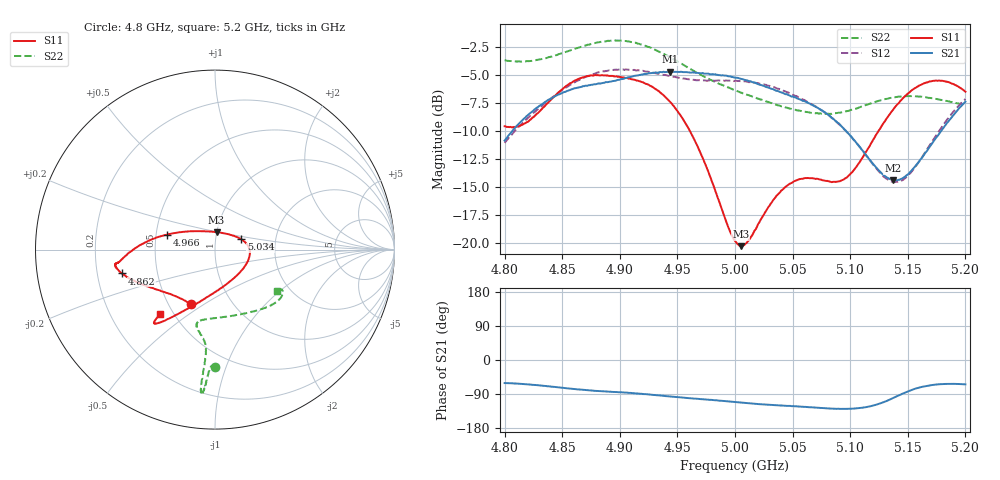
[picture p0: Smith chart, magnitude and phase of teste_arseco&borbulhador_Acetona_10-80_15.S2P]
! Network Analyzer HP8722D
! Hewlett-Packard
! Data name: Linha & Wilkinson
! Saver's name: Rodrigo Anjos
! Comments: Teste da utilização de aquisição
! continua pelo VNA HP8722D
! Time and date: 17/4/2025 14:29
!  Frequency  S11  S21  S12  S22
# HZ  S  MA R 50
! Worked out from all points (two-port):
!   401 points, 4.8 GHz to 5.2 GHz, reference 50 ohm
!   highest |S21| = -4.67 dB at 4.944 GHz (marker M1); lowest = -14.4 dB at 5.137 GHz (marker M2)
!   |S21| within 3 dB of the highest: 4.831 GHz to 5.067 GHz (236.3 MHz wide, 4.77 % of centre); 5.197108 GHz to end of sweep
!   lowest |S11| = -20.3 dB at 5.005 GHz (marker M3), VSWR 1.22, Z = 49.9 + j9.75 ohm
!   |S11| at or under -10 dB: 4.961 GHz to 5.124 GHz (163.4 MHz wide, 3.24 % of centre)
!   |S22| runs from -8.4 to -1.9 dB; largest |S21 - S12| = 0.88
!   S11 on the Smith chart (normalised r, x): 4.8 GHz: 0.65, -0.44; 4.862 GHz: 0.31, -0.11; 4.966 GHz: 0.57, +0.10; 5.034 GHz: 1.33, +0.16; 5.2 GHz: 0.42, -0.39
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4.8e9  0.333 -113.4  0.2875 -60.9  0.2808 -175.0  0.6565 -90.0
4.819e9  0.3467 -133.2  0.3696 -64.0  0.3575 -173.6  0.6503 -91.6
4.862e9  0.5353 -165.6  0.4934 -77.1  0.5282 -176.7  0.7423 -93.8
4.867e9  0.5487 -167.6  0.4998 -78.5  0.5434 -177.8  0.7543 -93.9
4.9e9  0.5531 -172.1  0.538 -85.1  0.5975 175.7  0.8036 -95.4
4.934e9  0.4773 -178.2  0.5794 -93.5  0.572 171.8  0.717 -95.8
4.944e9  0.4258 177.3  0.5841 -96.3  0.5569 171.9  0.6759 -95.5
4.966e9  0.281 162.9  0.5761 -102.0  0.5347 173.8  0.5805 -95.1
5e9  0.1025 102.3  0.549 -111.1  0.532 176.1  0.4816 -99.2
5.005e9  0.09711 84.9  0.5424 -112.6  0.5291 176.2  0.4702 -100.3
5.013e9  0.1049 59.1  0.5296 -114.6  0.524 175.9  0.4554 -102.0
5.034e9  0.1578 21.2  0.4846 -119.1  0.4975 174.9  0.4185 -103.7
5.049e9  0.1858 5.9  0.452 -121.7  0.4643 174.2  0.3983 -100.2
5.067e9  0.1952 -13.2  0.4145 -124.9  0.4173 173.7  0.3817 -91.0
5.086e9  0.1883 -43.2  0.3572 -128.4  0.3554 173.5  0.3806 -76.6
5.097e9  0.1966 -65.9  0.3144 -128.9  0.3143 174.6  0.3889 -67.5
5.134e9  0.375 -116.2  0.1941 -104.9  0.1905 -157.9  0.4446 -43.0
5.137e9  0.3929 -118.1  0.1911 -100.9  0.1886 -153.0  0.4475 -41.6
5.15e9  0.4653 -124.0  0.2029 -83.2  0.2 -132.9  0.454 -36.7
5.17e9  0.5284 -128.7  0.2738 -66.4  0.2793 -112.6  0.4451 -31.9
5.184e9  0.5263 -130.1  0.3447 -63.1  0.3557 -107.3  0.4321 -31.0
5.2e9  0.475 -130.5  0.4286 -64.4  0.441 -106.4  0.4151 -33.3
